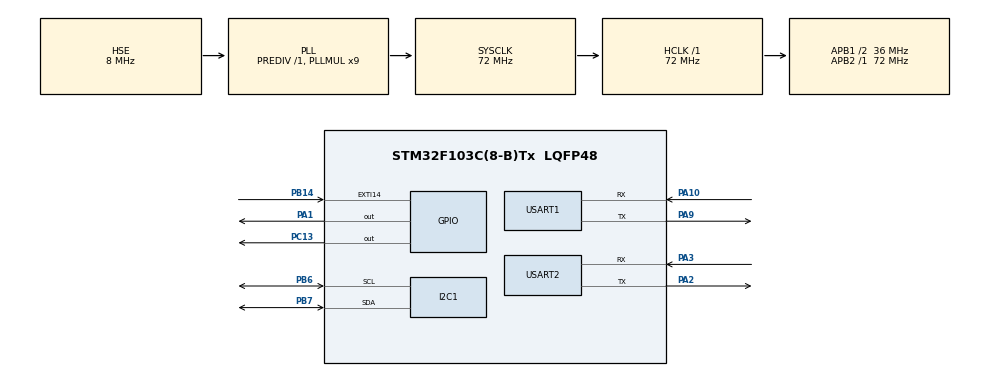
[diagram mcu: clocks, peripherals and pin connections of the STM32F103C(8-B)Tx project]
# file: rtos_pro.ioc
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FREERTOS.Tasks01=defaultTask,24,128,StartDefaultTask,Default,NULL,Dynamic,NULL,NULL
FREERTOS.configTOTAL_HEAP_SIZE=4096
Mcu.Family=STM32F1
Mcu.Name=STM32F103C(8-B)Tx
Mcu.Package=LQFP48
NVIC.EXTI15_10_IRQn=true\:5\:0\:false\:false\:true\:true\:true\:true\:true
NVIC.PriorityGroup=NVIC_PRIORITYGROUP_4
NVIC.TIM4_IRQn=true\:15\:0\:false\:false\:true\:false\:false\:true\:true
NVIC.TimeBase=TIM4_IRQn
NVIC.TimeBaseIP=TIM4
NVIC.USART1_IRQn=true\:5\:0\:false\:false\:true\:true\:true\:true\:true
NVIC.USART2_IRQn=true\:5\:0\:false\:false\:true\:true\:true\:true\:true
PA1.GPIO_ModeDefaultOutputPP=GPIO_MODE_OUTPUT_OD
PA1.GPIO_PuPd=GPIO_PULLUP
PA1.Signal=GPIO_Output
PA10.Mode=Asynchronous
PA10.Signal=USART1_RX
PA13.Mode=Serial_Wire
PA13.Signal=SYS_JTMS-SWDIO
PA14.Mode=Serial_Wire
PA14.Signal=SYS_JTCK-SWCLK
PA2.Mode=Asynchronous
PA2.Signal=USART2_TX
PA3.Mode=Asynchronous
PA3.Signal=USART2_RX
PA9.Mode=Asynchronous
PA9.Signal=USART1_TX
PB14.GPIO_ModeDefaultEXTI=GPIO_MODE_IT_FALLING
PB14.GPIO_PuPd=GPIO_PULLUP
PB14.Signal=GPXTI14
PB6.Mode=I2C
PB6.Signal=I2C1_SCL
PB7.Mode=I2C
PB7.Signal=I2C1_SDA
PC13-TAMPER-RTC.Signal=GPIO_Output
PD0-OSC_IN.Mode=HSE-External-Oscillator
PD0-OSC_IN.Signal=RCC_OSC_IN
PD1-OSC_OUT.Mode=HSE-External-Oscillator
PD1-OSC_OUT.Signal=RCC_OSC_OUT
ProjectManager.HeapSize=0x200
ProjectManager.StackSize=0x400
ProjectManager.TargetToolchain=MDK-ARM V5.32
RCC.AHBFreq_Value=72000000
RCC.APB1CLKDivider=RCC_HCLK_DIV2
RCC.APB1Freq_Value=36000000
RCC.APB1TimFreq_Value=72000000
RCC.APB2Freq_Value=72000000
RCC.APB2TimFreq_Value=72000000
RCC.HCLKFreq_Value=72000000
RCC.PLLMUL=RCC_PLL_MUL9
RCC.PLLSourceVirtual=RCC_PLLSOURCE_HSE
RCC.SYSCLKFreq_VALUE=72000000
RCC.SYSCLKSource=RCC_SYSCLKSOURCE_PLLCLK
RCC.USBFreq_Value=72000000
USART1.VirtualMode=VM_ASYNC
USART2.VirtualMode=VM_ASYNC
VP_FREERTOS_VS_CMSIS_V2.Mode=CMSIS_V2
VP_SYS_VS_tim4.Mode=TIM4
board=custom

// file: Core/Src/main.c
/* USER CODE BEGIN Header */
/**
  ******************************************************************************
  * @file           : main.c
  * @brief          : Main program body
  ******************************************************************************
  * @attention
  *
  * Copyright (c) 2024 STMicroelectronics.
  * All rights reserved.
  *
  * This software is licensed under terms that can be found in the LICENSE file
  * in the root directory of this software component.
  * If no LICENSE file comes with this software, it is provided AS-IS.
  *
  ******************************************************************************
  */
/* USER CODE END Header */
#include "main.h"
#include "cmsis_os.h"
#include "i2c.h"
#include "usart.h"
#include "gpio.h"

/* USER CODE BEGIN Includes */
#include "driver_led.h"
#include "driver_oled.h"
/* USER CODE END Includes */

void SystemClock_Config(void);
void MX_FREERTOS_Init(void);

int main(void)
{

  /* MCU Configuration--------------------------------------------------------*/

  /* Reset of all peripherals, Initializes the Flash interface and the Systick. */
  HAL_Init();

  /* Configure the system clock */
  SystemClock_Config();

  /* Initialize all configured peripherals */
  MX_GPIO_Init();
  MX_I2C1_Init();
  MX_USART1_UART_Init();
  MX_USART2_UART_Init();
  /* USER CODE BEGIN 2 */
  OLED_Init();
	Led_Control(LED_GREEN, 0);
  /* USER CODE END 2 */

  /* Init scheduler */
  osKernelInitialize();

  /* Call init function for freertos objects (in cmsis_os2.c) */
  MX_FREERTOS_Init();

  /* Start scheduler */
  osKernelStart();

  /* We should never get here as control is now taken by the scheduler */

  /* Infinite loop */
  while (1)
  {

  }
}

void SystemClock_Config(void)
{
  RCC_OscInitTypeDef RCC_OscInitStruct = {0};
  RCC_ClkInitTypeDef RCC_ClkInitStruct = {0};

  /** Initializes the RCC Oscillators according to the specified parameters
  * in the RCC_OscInitTypeDef structure.
  */
  RCC_OscInitStruct.OscillatorType = RCC_OSCILLATORTYPE_HSE;
  RCC_OscInitStruct.HSEState = RCC_HSE_ON;
  RCC_OscInitStruct.HSEPredivValue = RCC_HSE_PREDIV_DIV1;
  RCC_OscInitStruct.HSIState = RCC_HSI_ON;
  RCC_OscInitStruct.PLL.PLLState = RCC_PLL_ON;
  RCC_OscInitStruct.PLL.PLLSource = RCC_PLLSOURCE_HSE;
  RCC_OscInitStruct.PLL.PLLMUL = RCC_PLL_MUL9;
  if (HAL_RCC_OscConfig(&RCC_OscInitStruct) != HAL_OK)
  {
    Error_Handler();
  }

  /** Initializes the CPU, AHB and APB buses clocks
  */
  RCC_ClkInitStruct.ClockType = RCC_CLOCKTYPE_HCLK|RCC_CLOCKTYPE_SYSCLK
                              |RCC_CLOCKTYPE_PCLK1|RCC_CLOCKTYPE_PCLK2;
  RCC_ClkInitStruct.SYSCLKSource = RCC_SYSCLKSOURCE_PLLCLK;
  RCC_ClkInitStruct.AHBCLKDivider = RCC_SYSCLK_DIV1;
  RCC_ClkInitStruct.APB1CLKDivider = RCC_HCLK_DIV2;
  RCC_ClkInitStruct.APB2CLKDivider = RCC_HCLK_DIV1;

  if (HAL_RCC_ClockConfig(&RCC_ClkInitStruct, FLASH_LATENCY_2) != HAL_OK)
  {
    Error_Handler();
  }
}

void HAL_TIM_PeriodElapsedCallback(TIM_HandleTypeDef *htim)
{
  if (htim->Instance == TIM4) {
    HAL_IncTick();
  }
}

void Error_Handler(void)
{
  __disable_irq();
  while (1)
  {
  }
}

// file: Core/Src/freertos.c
/* USER CODE BEGIN Header */
/**
  ******************************************************************************
  * File Name          : freertos.c
  * Description        : Code for freertos applications
  ******************************************************************************
  * @attention
  *
  * Copyright (c) 2024 STMicroelectronics.
  * All rights reserved.
  *
  * This software is licensed under terms that can be found in the LICENSE file
  * in the root directory of this software component.
  * If no LICENSE file comes with this software, it is provided AS-IS.
  *
  ******************************************************************************
  */
/* USER CODE END Header */

#include "FreeRTOS.h"
#include "task.h"
#include "main.h"
#include "cmsis_os.h"

/* USER CODE BEGIN Includes */

//rtos
#include "queue.h"
#include "timers.h"
#include "event_groups.h"

//task_file
#include "T_Wifi.h"
#include "T_Sensor.h"
#include "T_LED.h"
#include "T_OLED.h"
#include "T_CloudUpload.h"
#include "T_CloudDownload.h"

//MCU Driver
#include "driver_oled.h"

/* USER CODE END Includes */

/* USER CODE BEGIN PTD */

typedef StaticTask_t osStaticThreadDef_t;
typedef StaticQueue_t osStaticMessageQDef_t;
typedef StaticTimer_t osStaticTimerDef_t;
typedef StaticSemaphore_t osStaticMutexDef_t;
typedef StaticSemaphore_t osStaticSemaphoreDef_t;
typedef StaticEventGroup_t osStaticEventGroupDef_t;

/* USER CODE END PTD */

/* USER CODE BEGIN PD */
#define MAX_QUEUE_SIZE 5
#define SENSOR_DATA_SIZE sizeof(SensorData)
/* USER CODE END PD */

/* USER CODE BEGIN Variables */

//	Wifi
osThreadId_t T_WifiHandle;
uint32_t T_WifiBuffer[ 512 ];
osStaticThreadDef_t T_WifiControlBlock;
const osThreadAttr_t T_Wifi_attributes = {
  .name = "T_Wifi",
  .cb_mem = &T_WifiControlBlock,
  .cb_size = sizeof(T_WifiControlBlock),
  .stack_mem = &T_WifiBuffer[0],
  .stack_size = sizeof(T_WifiBuffer),
  .priority = (osPriority_t) osPriorityAboveNormal,
};

//	CloudUpload
osThreadId_t T_CloudUploadHandle;
uint32_t T_CloudUploadBuffer[ 512 ];
osStaticThreadDef_t T_CloudUploadControlBlock;
const osThreadAttr_t T_CloudUpload_attributes = {
  .name = "T_CloudUpload",
  .cb_mem = &T_CloudUploadControlBlock,
  .cb_size = sizeof(T_CloudUploadControlBlock),
  .stack_mem = &T_CloudUploadBuffer[0],
  .stack_size = sizeof(T_CloudUploadBuffer),
  .priority = (osPriority_t) osPriorityNormal,
};

//	CloudDownload
osThreadId_t T_CloudDownloadHandle;
uint32_t T_CloudDownloadBuffer[ 512 ];
osStaticThreadDef_t T_CloudDownloadControlBlock;
const osThreadAttr_t T_CloudDownload_attributes = {
  .name = "T_CloudDownload",
  .cb_mem = &T_CloudDownloadControlBlock,
  .cb_size = sizeof(T_CloudDownloadControlBlock),
  .stack_mem = &T_CloudDownloadBuffer[0],
  .stack_size = sizeof(T_CloudDownloadBuffer),
  .priority = (osPriority_t) osPriorityNormal1,
};

//	Sensor
osThreadId_t T_SensorHandle;
uint32_t T_SensorBuffer[ 256 ];
osStaticThreadDef_t T_SensorControlBlock;
const osThreadAttr_t T_Sensor_attributes = {
  .name = "T_Sensor",
  .cb_mem = &T_SensorControlBlock,
  .cb_size = sizeof(T_SensorControlBlock),
  .stack_mem = &T_SensorBuffer[0],
  .stack_size = sizeof(T_SensorBuffer),
  .priority = (osPriority_t) osPriorityNormal,
};

//	OLED
osThreadId_t T_OLEDHandle;
uint32_t T_OLEDBuffer[ 256 ];
osStaticThreadDef_t T_OLEDControlBlock;
const osThreadAttr_t T_OLED_attributes = {
  .name = "T_OLED",
  .cb_mem = &T_OLEDControlBlock,
  .cb_size = sizeof(T_OLEDControlBlock),
  .stack_mem = &T_OLEDBuffer[0],
  .stack_size = sizeof(T_OLEDBuffer),
  .priority = (osPriority_t) osPriorityNormal,
};

// LED
osThreadId_t T_LEDHandle;
uint32_t T_LEDBuffer[ 128 ];
osStaticThreadDef_t T_LEDControlBlock;
const osThreadAttr_t T_LED_attributes = {
  .name = "T_LED",
  .cb_mem = &T_LEDControlBlock,
  .cb_size = sizeof(T_LEDControlBlock),
  .stack_mem = &T_LEDBuffer[0],
  .stack_size = sizeof(T_LEDBuffer),
  .priority = (osPriority_t) osPriorityNormal2,
};

// Q_Data
osMessageQueueId_t Q_DataHandle;
uint8_t Q_DataBuffer[ MAX_QUEUE_SIZE * SENSOR_DATA_SIZE ];
osStaticMessageQDef_t Q_DataBlock;
const osMessageQueueAttr_t Q_Data_attributes = {
  .name = "Q_Data",
  .cb_mem = &Q_DataBlock,
  .cb_size = sizeof(Q_DataBlock),
  .mq_mem = &Q_DataBuffer,
  .mq_size = sizeof(Q_DataBuffer)
};

// Q_Cloud
//osMessageQueueId_t Q_CloudHandle;
//uint8_t Q_CloudBuffer[ 5 * sizeof( uint16_t ) ];
//osStaticMessageQDef_t Q_CloudBlock;
//const osMessageQueueAttr_t Q_Cloud_attributes = {
//  .name = "Q_Cloud",
//  .cb_mem = &Q_CloudBlock,
//  .cb_size = sizeof(Q_CloudBlock),
//  .mq_mem = &Q_CloudBuffer,
//  .mq_size = sizeof(Q_CloudBuffer)
//};

// M_WIFI
osMutexId_t M_dataHandle;
osStaticMutexDef_t M_dataControlBlock;
const osMutexAttr_t M_data_attributes = {
  .name = "M_data",
  .cb_mem = &M_dataControlBlock,
  .cb_size = sizeof(M_dataControlBlock),
};

// Ti_WifiDown
osTimerId_t Ti_WifiDownHandle;
osStaticTimerDef_t Ti_WifiDownBlock;
const osTimerAttr_t Ti_WifiDown_attributes = {
  .name = "Ti_WifiDown",
  .cb_mem = &Ti_WifiDownBlock,
  .cb_size = sizeof(Ti_WifiDownBlock),
};

// Ti_Sensor
osTimerId_t Ti_SensorHandle;
osStaticTimerDef_t Ti_SensorBlock;
const osTimerAttr_t Ti_Sensor_attributes = {
  .name = "Ti_Sensor",
  .cb_mem = &Ti_SensorBlock,
  .cb_size = sizeof(Ti_SensorBlock),
};

// Binary Source
//osSemaphoreId_t BS_ResourceHandle;
//osStaticSemaphoreDef_t BS_ResourceControlBlock;
//const osSemaphoreAttr_t BS_Resource_attributes = {
//  .name = "BS_Resource",
//  .cb_mem = &BS_ResourceControlBlock,
//  .cb_size = sizeof(BS_ResourceControlBlock),
//};

// Event Group

osEventFlagsId_t EventGroupHandle;
osStaticEventGroupDef_t EventGroupControlBlock;
const osEventFlagsAttr_t EventGroup_attributes = {
  .name = "myEvent01",
  .cb_mem = &EventGroupControlBlock,
  .cb_size = sizeof(EventGroupControlBlock),
};

/* USER CODE END Variables */
/* Definitions for defaultTask */
osThreadId_t defaultTaskHandle;
const osThreadAttr_t defaultTask_attributes = {
  .name = "defaultTask",
  .stack_size = 128 * 4,
  .priority = (osPriority_t) osPriorityNormal,
};

void StartDefaultTask(void *argument);

void MX_FREERTOS_Init(void); /* (MISRA C 2004 rule 8.1) */

void MX_FREERTOS_Init(void) {

  /* Create the thread(s) */
  /* creation of defaultTask */
  defaultTaskHandle = osThreadNew(StartDefaultTask, NULL, &defaultTask_attributes);

  /* USER CODE BEGIN RTOS_THREADS */
  /* add threads, ... */

  // Create Task

	T_WifiHandle = osThreadNew(F_Wifi, NULL, &T_Wifi_attributes);
	T_SensorHandle = osThreadNew(F_Sensor, NULL, &T_Sensor_attributes);
	T_OLEDHandle = osThreadNew(F_OLED, NULL, &T_OLED_attributes);
	T_LEDHandle = osThreadNew(F_LED, NULL, &T_LED_attributes);
	T_CloudUploadHandle = osThreadNew(F_CloudUpload, NULL, &T_CloudUpload_attributes);
	T_CloudDownloadHandle = osThreadNew(F_CloudDownload, NULL, &T_CloudDownload_attributes);

  // Create Queue
	Q_DataHandle = osMessageQueueNew (MAX_QUEUE_SIZE, SENSOR_DATA_SIZE, &Q_Data_attributes);
	//Q_CloudHandle = osMessageQueueNew (5, sizeof(uint16_t), &Q_Cloud_attributes);

  // Create Mutex
	M_dataHandle = osMutexNew(&M_data_attributes);

  // Create Timer
	Ti_WifiDownHandle = osTimerNew(Cb_WifiDown, osTimerPeriodic, NULL, &Ti_WifiDown_attributes);
	Ti_SensorHandle = osTimerNew(Cb_Sensor, osTimerPeriodic, NULL, &Ti_Sensor_attributes);

   // Create EventGroup
    EventGroupHandle = osEventFlagsNew(&EventGroup_attributes);

  /* USER CODE END RTOS_THREADS */

}

void StartDefaultTask(void *argument)
{
  /* USER CODE BEGIN StartDefaultTask */

  /* Infinite loop */
  for(;;)
  {
    osDelay(pdMS_TO_TICKS(1));
  }
  /* USER CODE END StartDefaultTask */
}
